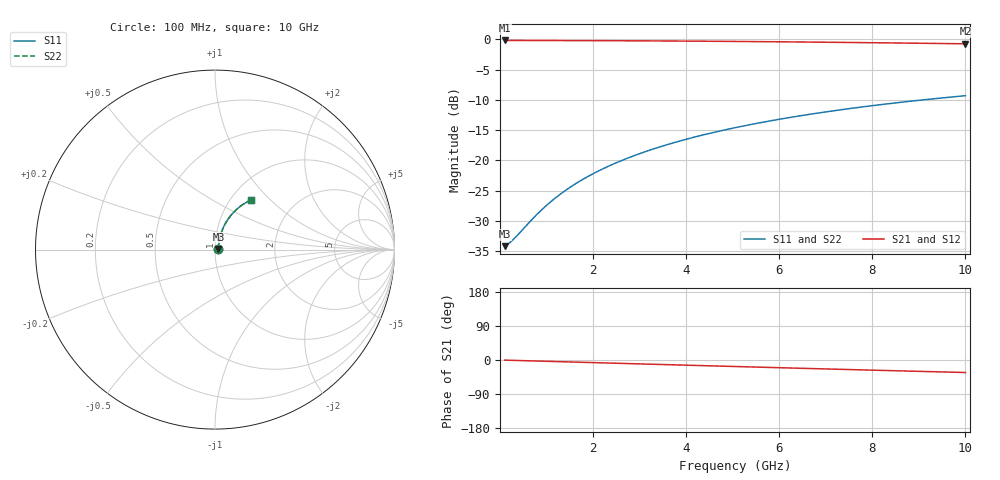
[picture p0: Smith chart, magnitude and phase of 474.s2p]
# Hz S RI R 50.00
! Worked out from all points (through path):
!   100 points, 100 MHz to 10 GHz, reference 50 ohm
!   highest |S21| = -0.17 dB at 100 MHz (marker M1); lowest = -0.7 dB at 10 GHz (marker M2)
!   group delay of S21, straight-line fit = 9.2 ps
!   lowest |S11| = -34.2 dB at 100 MHz (marker M3), VSWR 1.04, Z = 52 + j0.38 ohm
!   |S11| at or under -10 dB: start of sweep to 9.077 GHz
!   |S22| runs from -34.2 to -9.3 dB; largest |S21 - S12| = 0
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1e8  0.0192 0.00366  0.9808 -0.00588  0.9808 -0.00588  0.0192 0.00366
2e8  0.0194 0.00731  0.9806 -0.0118  0.9806 -0.0118  0.0194 0.00731
3e8  0.0196 0.011  0.9803 -0.0176  0.9803 -0.0176  0.0196 0.011
8e8  0.0211 0.0292  0.9787 -0.047  0.9787 -0.047  0.0211 0.0292
9e8  0.0215 0.0328  0.9782 -0.0528  0.9782 -0.0528  0.0215 0.0328
1.1e9  0.0225 0.04  0.9772 -0.0645  0.9772 -0.0645  0.0225 0.04
1.4e9  0.0242 0.0508  0.9753 -0.082  0.9753 -0.082  0.0242 0.0508
1.6e9  0.0256 0.058  0.9737 -0.0936  0.9737 -0.0936  0.0256 0.058
1.8e9  0.0271 0.0651  0.972 -0.1052  0.972 -0.1052  0.0271 0.0651
2.1e9  0.0297 0.0756  0.9691 -0.1225  0.9691 -0.1225  0.0297 0.0756
2.5e9  0.0337 0.0896  0.9646 -0.1453  0.9646 -0.1453  0.0337 0.0896
2.9e9  0.0384 0.1032  0.9594 -0.168  0.9594 -0.168  0.0384 0.1032
3.4e9  0.0452 0.1199  0.9519 -0.1958  0.9519 -0.1958  0.0452 0.1199
3.8e9  0.0512 0.133  0.9451 -0.2178  0.9451 -0.2178  0.0512 0.133
4.2e9  0.0579 0.1456  0.9376 -0.2394  0.9376 -0.2394  0.0579 0.1456
4.6e9  0.065 0.1579  0.9295 -0.2607  0.9295 -0.2607  0.065 0.1579
5.1e9  0.0748 0.1727  0.9185 -0.2867  0.9185 -0.2867  0.0748 0.1727
5.9e9  0.092 0.1949  0.8991 -0.3269  0.8991 -0.3269  0.092 0.1949
6.7e9  0.1109 0.2152  0.8775 -0.3653  0.8775 -0.3653  0.1109 0.2152
7.5e9  0.1314 0.2335  0.8541 -0.4017  0.8541 -0.4017  0.1314 0.2335
8.4e9  0.1559 0.2515  0.8258 -0.4402  0.8258 -0.4402  0.1559 0.2515
1e10  0.2024 0.2767  0.7715 -0.5018  0.7715 -0.5018  0.2024 0.2767
